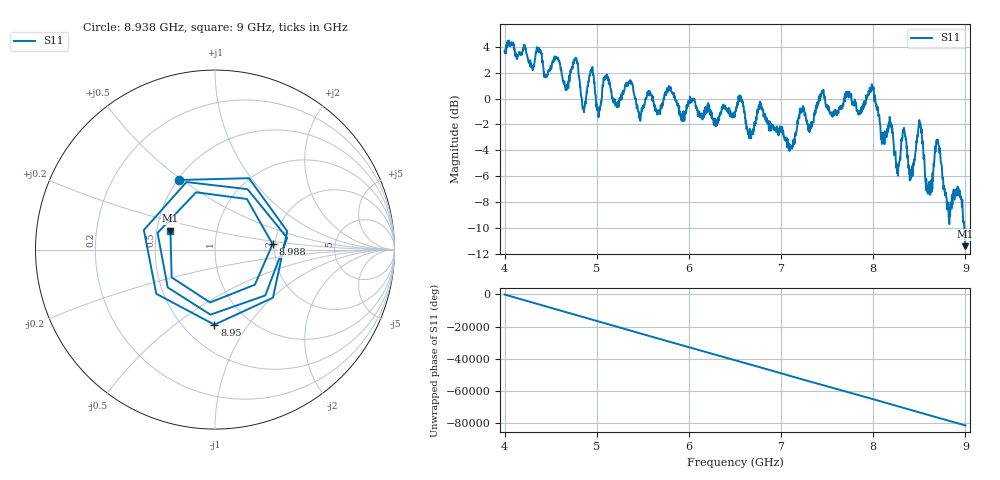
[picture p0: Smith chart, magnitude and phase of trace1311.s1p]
! Created with skrf 1.8.0 (http://scikit-rf.org).
# Hz S RI R 50.0
!freq ReS11 ImS11
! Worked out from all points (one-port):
!   1601 points, 4 GHz to 9 GHz, reference 50 ohm
!   lowest |S11| = -11.4 dB at 9 GHz (marker M1), VSWR 1.74, Z = 29.5 + j6.68 ohm
!   |S11| at or under -10 dB: 8.988688 GHz to end of sweep
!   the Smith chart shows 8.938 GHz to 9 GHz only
!   S11 on the Smith chart (normalised r, x): 8.938 GHz: 0.51, +0.49; 8.95 GHz: 0.70, -0.71; 8.988 GHz: 1.94, +0.13; 9 GHz: 0.59, +0.13
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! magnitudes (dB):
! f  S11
! 4 GHz  3.7
! 4.625 GHz  1.7
! 4.769 GHz  3.1
! 4.856 GHz  -0.7
! 4.941 GHz  2.3
! 5.019 GHz  -1.4
! 5.097 GHz  1.8
! 5.25 GHz  0.1
! 5.875 GHz  -0.5
! 6.5 GHz  -1.1
! 7.125 GHz  -3.6
! 7.228 GHz  -0.8
! 7.75 GHz  0.3
! 7.984 GHz  1.1
! 8.097 GHz  -3.1
! 8.194 GHz  -2.0
! 8.253 GHz  -5.0
! 8.331 GHz  -2.3
! 8.375 GHz  -4.6
! 8.416 GHz  -5.4
! 8.503 GHz  -2.2
! 8.594 GHz  -7.3
! 8.697 GHz  -3.2
! 8.809 GHz  -8.3
! 8.938 GHz  -7.2
! 8.95 GHz  -7.6
! 8.988 GHz  -9.8
! 9 GHz  -11.4
